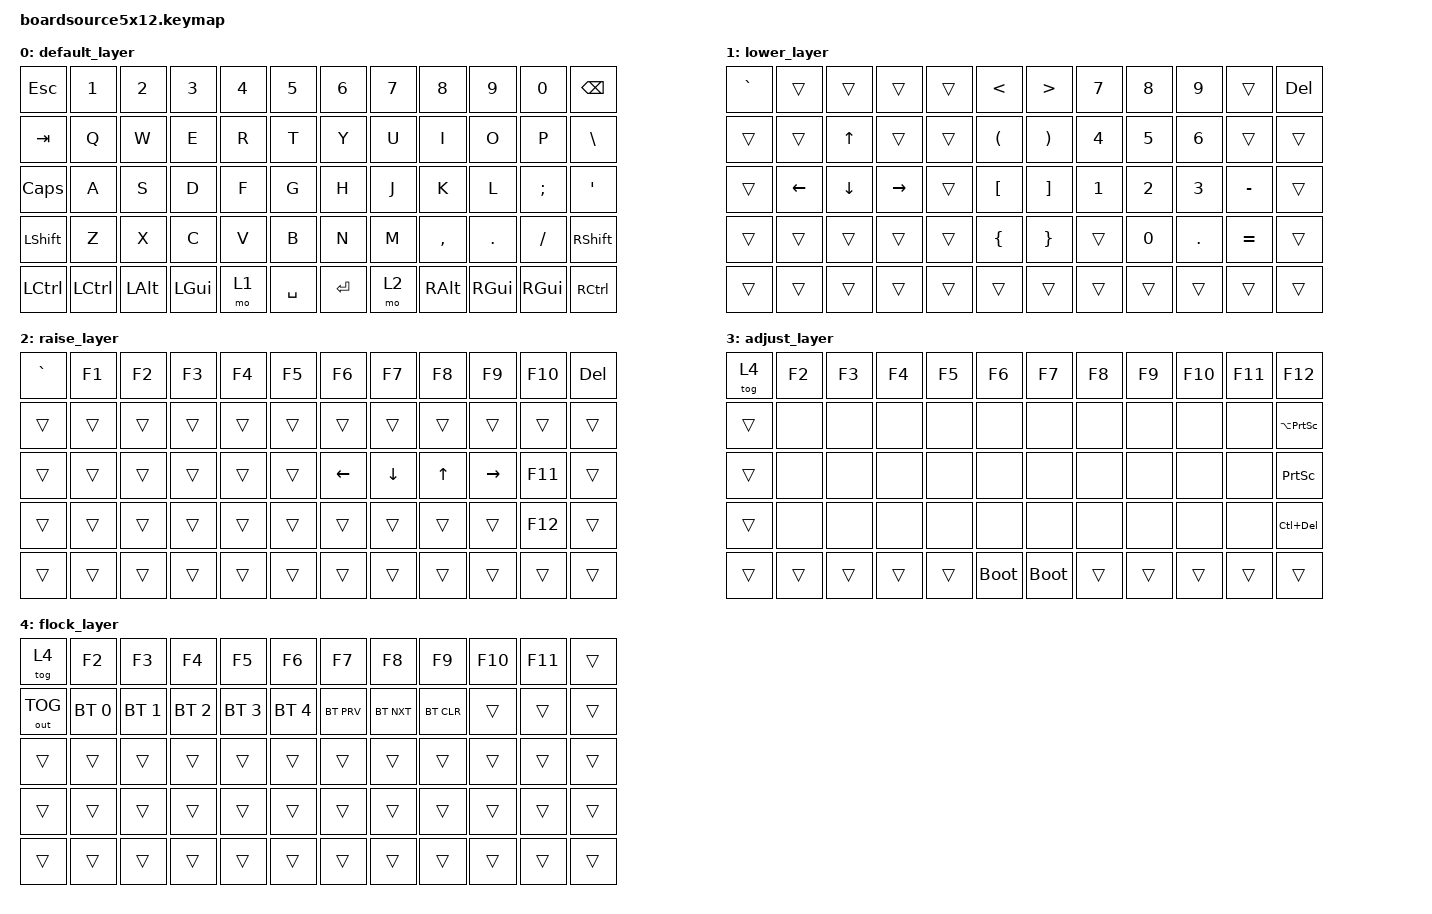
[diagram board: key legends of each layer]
/*
 * Copyright (c) 2021 The ZMK Contributors
 *
 * SPDX-License-Identifier: MIT
 */
 
#include <behaviors.dtsi>
#include <dt-bindings/zmk/keys.h>
#include <dt-bindings/zmk/bt.h>
#include <dt-bindings/zmk/outputs.h>


/ {
    keymap {
        compatible = "zmk,keymap";

        default_layer {
            bindings = <
                &kp ESC    &kp N1       &kp N2      &kp N3   &kp N4     &kp N5      &kp N6      &kp N7  &kp N8      &kp N9      &kp N0      &kp BSPC
                &kp TAB    &kp Q        &kp W       &kp E    &kp R      &kp T       &kp Y       &kp U   &kp I       &kp O       &kp P       &kp BSLH
                &kp CAPS   &kp A        &kp S       &kp D    &kp F      &kp G       &kp H       &kp J   &kp K       &kp L       &kp SEMI    &kp SQT
                &kp LSHFT  &kp Z        &kp X       &kp C    &kp V      &kp B       &kp N       &kp M   &kp COMMA   &kp DOT     &kp FSLH    &kp RSHFT
                &kp LCTRL  &kp LCTRL    &kp LALT    &kp LGUI &mo 1      &kp SPACE   &kp ENTER   &mo 2   &kp RALT    &kp RGUI    &kp RGUI    &kp RCTRL 
            >;
        };

        lower_layer {
            bindings = <
                &kp GRAVE   &trans      &trans      &trans      &trans      &kp LT      &kp GT      &kp N7      &kp N8      &kp N9      &trans      &kp DEL
                &trans      &trans      &kp UP      &trans      &trans      &kp LPAR    &kp RPAR    &kp N4      &kp N5      &kp N6      &trans      &trans
                &trans      &kp LEFT    &kp DOWN    &kp RIGHT   &trans      &kp LBKT    &kp RBKT    &kp N1      &kp N2      &kp N3      &kp MINUS   &trans
                &trans      &trans      &trans      &trans      &trans      &kp LBRC    &kp RBRC    &trans      &kp N0      &kp DOT     &kp EQUAL   &trans
                &trans      &trans      &trans      &trans      &trans      &trans      &trans      &trans      &trans      &trans      &trans      &trans
            >;
        };

        raise_layer {
            bindings = <
                &kp GRAVE   &kp F1      &kp F2      &kp F3      &kp F4      &kp F5      &kp F6      &kp F7      &kp F8      &kp F9      &kp F10     &kp DEL
                &trans      &trans      &trans      &trans      &trans      &trans      &trans      &trans      &trans      &trans      &trans      &trans
                &trans      &trans      &trans      &trans      &trans      &trans      &kp LEFT    &kp DOWN    &kp UP      &kp RIGHT   &kp F11     &trans
                &trans      &trans      &trans      &trans      &trans      &trans      &trans      &trans      &trans      &trans      &kp F12     &trans
                &trans      &trans      &trans      &trans      &trans      &trans      &trans      &trans      &trans      &trans      &trans      &trans
            >;
        };

        adjust_layer {
            // ------------------------------------------------------------------------------------------
            // |tog(4)|  F2  |  F3  |  F4  |  F5  |  F6  |  F7  |  F8  |  F9  |  F10 |  F11 |    F12    |
            // |      |  NA  |  NA  |  NA  |  NA  |  NA  |  NA  |  NA  |  NA  |  NA  |  NA  |LALT(PRTSN)|
            // |      |  NA  |  NA  |  NA  |  NA  |  NA  |  NA  |  NA  |  NA  |  NA  |  NA  |   PRTSN   |
            // |      |  NA  |  NA  |  NA  |  NA  |  NA  |  NA  |  NA  |  NA  |  NA  |  NA  |LCTRL(DEL) |
            // |      |      |      |      |      |BOOTLD|BOOTLD|      |      |      |      |           |
            bindings = <
                &tog 4 &kp F2 &kp F3 &kp F4 &kp F5 &kp F6 &kp F7 &kp F8 &kp F9 &kp F10 &kp F11 &kp F12
                &trans &none  &none  &none  &none  &none  &none  &none  &none  &none   &none   &kp LA(PSCRN)
                &trans &none  &none  &none  &none  &none  &none  &none  &none  &none   &none   &kp PSCRN
                &trans &none  &none  &none  &none  &none  &none  &none  &none  &none   &none   &kp LC(DEL)
                &trans &trans &trans &trans &trans &bootloader   &bootloader &trans &trans &trans &trans  &trans
            >;
        };

        flock_layer {
            // ----------------------------------------------------------------------------------------------
            // |tog(4) |  F2    |   F3   |   F4   |   F5   |   F6   |  F7  |  F8  |  F9  | F10 | F11 |      |
            // |out tog|BT_SEL 0|BT_SEL 1|BT_SEL 2|BT_SEL 3|BT_SEL 4|BT_PRV|BT_NXT|BT_CLR|     |     |      |
            // |       |        |        |        |        |        |      |      |      |     |     |      |
            // |       |        |        |        |        |        |      |      |      |     |     |      |
            // |       |        |        |        |        |        |      |      |      |     |     |      |
            bindings = <
                &tog 4       &kp F2       &kp F3       &kp F4       &kp F5       &kp F6       &kp F7     &kp F8     &kp F9     &kp F10 &kp F11 &trans
                &out OUT_TOG &bt BT_SEL 0 &bt BT_SEL 1 &bt BT_SEL 2 &bt BT_SEL 3 &bt BT_SEL 4 &bt BT_PRV &bt BT_NXT &bt BT_CLR &trans  &trans  &trans
                &trans       &trans       &trans       &trans       &trans       &trans       &trans     &trans     &trans     &trans  &trans  &trans
                &trans       &trans       &trans       &trans       &trans       &trans       &trans     &trans     &trans     &trans  &trans  &trans
                &trans       &trans       &trans       &trans       &trans       &trans       &trans     &trans     &trans     &trans  &trans  &trans
            >;
        };
    };
};
